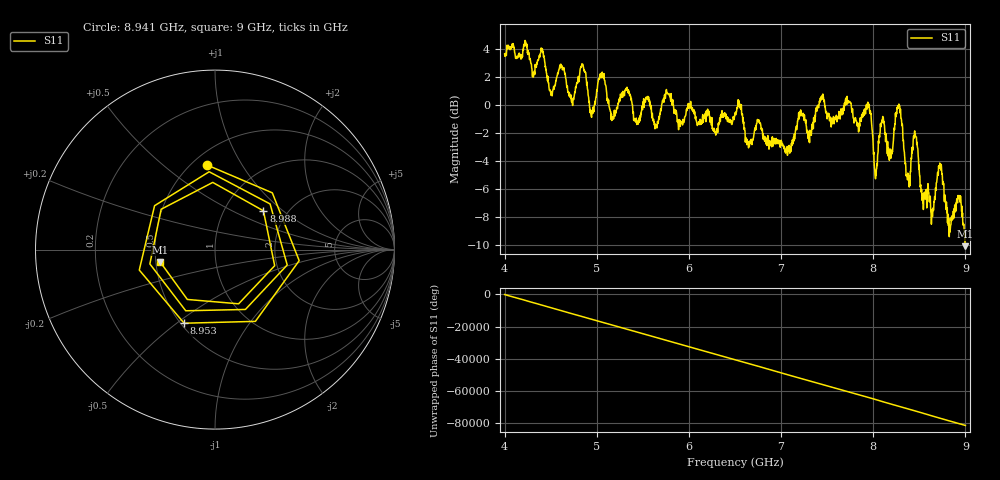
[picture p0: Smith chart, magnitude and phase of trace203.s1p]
! Created with skrf 1.8.0 (http://scikit-rf.org).
# Hz S RI R 50.0
!freq ReS11 ImS11
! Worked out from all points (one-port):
!   1601 points, 4 GHz to 9 GHz, reference 50 ohm
!   lowest |S11| = -10.1 dB at 9 GHz (marker M1), VSWR 1.91, Z = 26.4 - j4.05 ohm
!   |S11| at or under -10 dB: 8.997894 GHz to end of sweep
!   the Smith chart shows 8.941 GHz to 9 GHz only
!   S11 on the Smith chart (normalised r, x): 8.941 GHz: 0.59, +0.72; 8.953 GHz: 0.52, -0.53; 8.988 GHz: 1.52, +0.75; 9 GHz: 0.53, -0.08
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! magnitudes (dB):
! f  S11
! 4 GHz  3.7
! 4.406 GHz  4.0
! 4.506 GHz  0.8
! 4.625 GHz  2.8
! 4.731 GHz  0.2
! 4.856 GHz  2.7
! 4.947 GHz  -0.4
! 5.053 GHz  2.1
! 5.159 GHz  -0.6
! 5.25 GHz  0.5
! 5.875 GHz  -1.2
! 6.5 GHz  -0.5
! 7.125 GHz  -2.7
! 7.75 GHz  0.2
! 7.95 GHz  -0.2
! 8.028 GHz  -4.8
! 8.097 GHz  -1.2
! 8.188 GHz  -3.1
! 8.281 GHz  -0.1
! 8.375 GHz  -4.9
! 8.459 GHz  -2.2
! 8.631 GHz  -8.5
! 8.722 GHz  -4.1
! 8.831 GHz  -8.7
! 8.941 GHz  -6.5
! 8.953 GHz  -7.0
! 8.988 GHz  -9.2
! 9 GHz  -10.1
